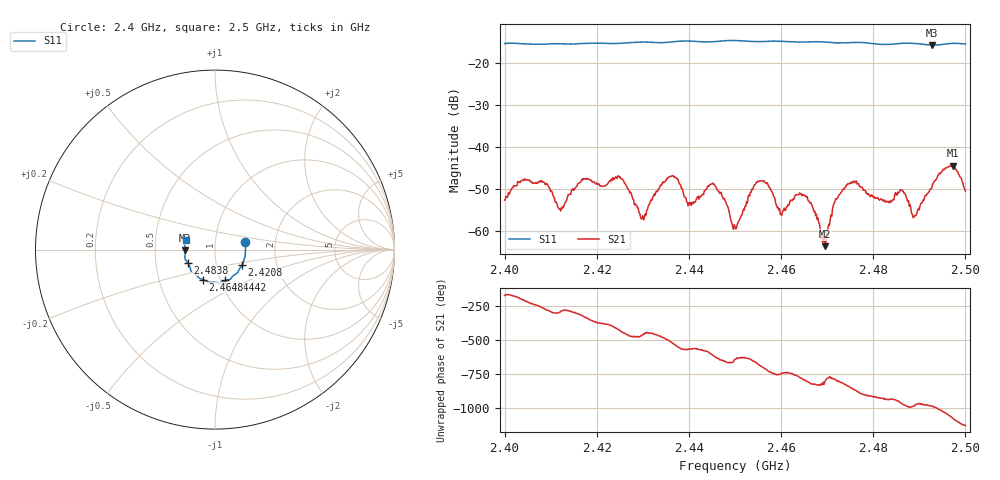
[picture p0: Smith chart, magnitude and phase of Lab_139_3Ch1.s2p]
# Hz S RI R 50
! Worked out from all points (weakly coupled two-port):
!   601 points, 2.4 GHz to 2.5 GHz, reference 50 ohm
!   highest |S21| = -44.40 dB at 2.4973 GHz (marker M1); lowest = -63.6 dB at 2.4695 GHz (marker M2)
!   lowest |S11| = -15.6 dB at 2.4928 GHz (marker M3), VSWR 1.40, Z = 35.8 - j0.353 ohm
!   |S11| at or under -10 dB: start of sweep to end of sweep
!   S12 and S22 are empty: the file has one direction only
!   S11 on the Smith chart (normalised r, x): 2.4 GHz: 1.40, +0.12; 2.4208 GHz: 1.33, -0.24; 2.4442 GHz: 1.05, -0.37; 2.4648 GHz: 0.83, -0.28; 2.4838 GHz: 0.73, -0.11; 2.5 GHz: 0.72, +0.08
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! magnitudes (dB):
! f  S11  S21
! 2.4 GHz  -15.2  -52.7
! 2.408 GHz  -15.4  -48.0
! 2.4123 GHz  -15.3  -54.4
! 2.4167 GHz  -15.2  -48.0
! 2.4208 GHz  -15.2  -49.2
! 2.4252 GHz  -15.2  -47.5
! 2.43 GHz  -14.9  -56.4
! 2.4333 GHz  -15.0  -50.0
! 2.4442 GHz  -14.9  -49.2
! 2.45 GHz  -14.5  -59.0
! 2.4552 GHz  -14.8  -48.2
! 2.46 GHz  -14.7  -56.1
! 2.4648 GHz  -14.9  -51.4
! 2.4667 GHz  -14.8  -53.8
! 2.4695 GHz  -14.9  -63.6
! 2.4748 GHz  -15.0  -48.8
! 2.4833 GHz  -15.5  -53.2
! 2.4838 GHz  -15.4  -52.8
! 2.489 GHz  -15.2  -56.3
! 2.4928 GHz  -15.6  -49.0
! 2.4973 GHz  -15.2  -44.4
! 2.5 GHz  -15.4  -50.5
